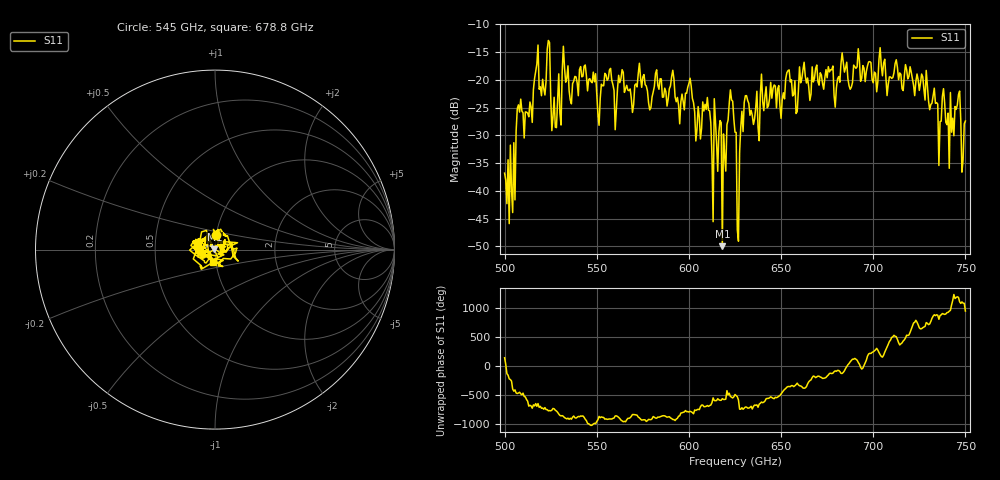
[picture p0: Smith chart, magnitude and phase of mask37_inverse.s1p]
!Created with skrf (http://scikit-rf.org).
# GHz S MA R 50.0
!freq magS11 angS11
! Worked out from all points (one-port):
!   401 points, 500 GHz to 750 GHz, reference 50 ohm
!   lowest |S11| = -49.9 dB at 618.1 GHz (marker M1), VSWR 1.01, Z = 49.7 + j0.143 ohm
!   |S11| at or under -10 dB: start of sweep to end of sweep
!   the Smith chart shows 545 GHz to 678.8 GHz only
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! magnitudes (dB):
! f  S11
! 500 GHz  -36.8
! 505 GHz  -31.3
! 507.5 GHz  -24.5
! 513.8 GHz  -24.0
! 516.9 GHz  -18.4
! 520.6 GHz  -19.9
! 523.8 GHz  -12.9
! 526.9 GHz  -23.1
! 531.2 GHz  -18.5
! 551.2 GHz  -28.2
! 562.5 GHz  -20.5
! 579.4 GHz  -25.0
! 590.6 GHz  -19.4
! 593.8 GHz  -23.2
! 600.6 GHz  -19.7
! 605 GHz  -24.8
! 610 GHz  -23.2
! 611.9 GHz  -27.7
! 618.1 GHz  -49.9
! 619.4 GHz  -33.7
! 622.5 GHz  -21.8
! 625 GHz  -29.4
! 626.9 GHz  -49.0
! 631.2 GHz  -22.8
! 656.2 GHz  -22.9
! 687.5 GHz  -21.7
! 718.8 GHz  -19.8
! 750 GHz  -27.4
